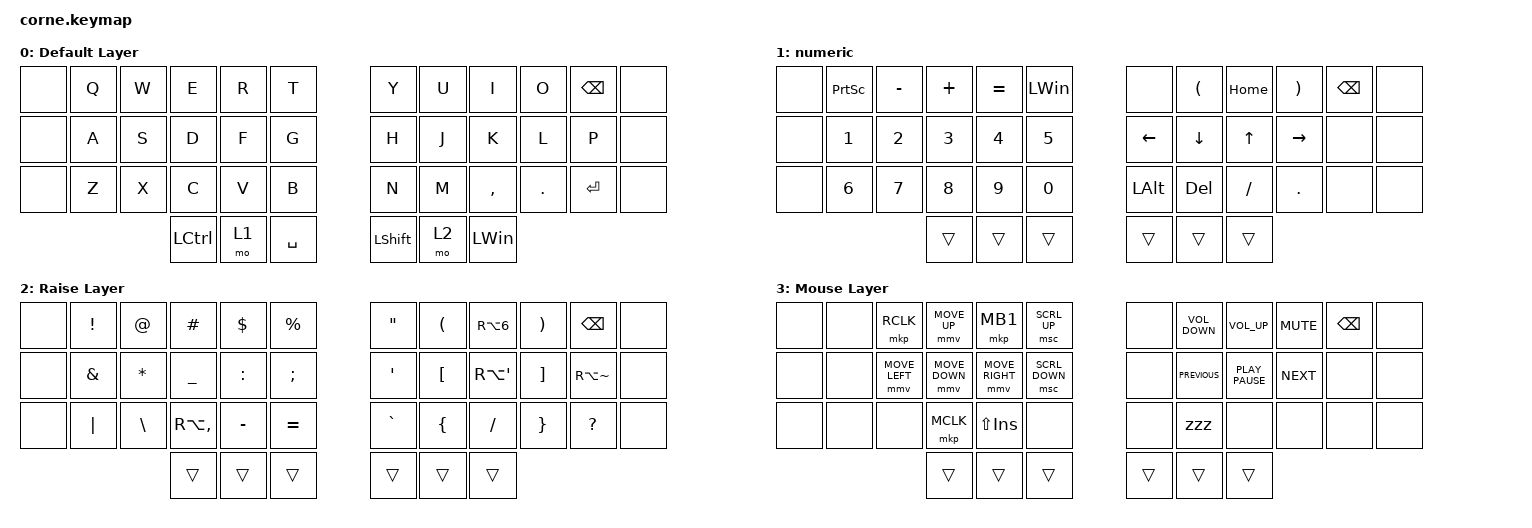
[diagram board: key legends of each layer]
/*
 * Copyright (c) 2020 The ZMK Contributors
 *
 * SPDX-License-Identifier: MIT
 */

#define ZMK_POINTING_DEFAULT_MOVE_VAL 1500

#include <behaviors.dtsi>
#include <dt-bindings/zmk/keys.h>
#include <dt-bindings/zmk/pointing.h>

/ {
    macros {
        zzz: zzz {
            compatible = "zmk,behavior-macro";
            #binding-cells = <0>;
            bindings = <&none &kp LS(N) &kp N0 &kp N0 &kp F &kp N3 &kp R &kp N1 &kp N3 &kp N2 &kp EXCL>;
            label = "ZZZ";
        };
    };

    combos {
        compatible = "zmk,combos";

        tab {
            bindings = <&kp TAB>;
            key-positions = <16 15>;
            layers = <0>;
        };

        esc {
            bindings = <&kp ESC>;
            key-positions = <1 2>;
            layers = <0>;
        };
    };

    keymap {
        compatible = "zmk,keymap";

        default_layer {
            display-name = "Default Layer";

            // -----------------------------------------------------------------------------------------
            // |  TAB |  Q  |  W  |  E  |  R  |  T  |   |  Y  |  U   |  I  |  O  |  P  | BSPC |
            // | CTRL |  A  |  S  |  D  |  F  |  G  |   |  H  |  J   |  K  |  L  |  ;  |  '   |
            // | SHFT |  Z  |  X  |  C  |  V  |  B  |   |  N  |  M   |  ,  |  .  |  /  | ESC  |
            //                    | GUI | LWR | SPC |   | ENT | RSE  | ALT |

            bindings = <
&none  &kp Q  &kp W  &kp E      &kp R  &kp T        &kp Y           &kp U  &kp I         &kp O    &kp BACKSPACE  &none
&none  &kp A  &kp S  &kp D      &kp F  &kp G        &kp H           &kp J  &kp K         &kp L    &kp P          &none
&none  &kp Z  &kp X  &kp C      &kp V  &kp B        &kp N           &kp M  &kp COMMA     &kp DOT  &kp ENTER      &none
                     &kp LCTRL  &mo 1  &kp SPACE    &kp LEFT_SHIFT  &mo 2  &kp LEFT_WIN
            >;
        };

        numeric {
            display-name = "numeric";

            // -----------------------------------------------------------------------------------------
            // |  TAB |  1  |  2  |  3  |  4  |  5  |   |  6  |  7  |  8  |  9  |  0  | BSPC |
            // | BTCLR| BT1 | BT2 | BT3 | BT4 | BT5 |   | LFT | DWN |  UP | RGT |     |      |
            // | SHFT |     |     |     |     |     |   |     |     |     |     |     |      |
            //                    | GUI |     | SPC |   | ENT |     | ALT |

            bindings = <
&none  &kp PRINTSCREEN  &kp MINUS     &kp PLUS      &kp EQUAL     &kp LEFT_WIN    &none         &kp LEFT_PARENTHESIS  &kp HOME   &kp RIGHT_PARENTHESIS  &kp BACKSPACE  &none
&none  &kp NUMBER_1     &kp NUMBER_2  &kp NUMBER_3  &kp NUMBER_4  &kp NUMBER_5    &kp LEFT      &kp DOWN              &kp UP     &kp RIGHT              &none          &none
&none  &kp NUMBER_6     &kp N7        &kp NUMBER_8  &kp NUMBER_9  &kp NUMBER_0    &kp LEFT_ALT  &kp DEL               &kp SLASH  &kp PERIOD             &none          &none
                                      &trans        &trans        &trans          &trans        &trans                &trans
            >;
        };

        raise_layer {
            display-name = "Raise Layer";

            // -----------------------------------------------------------------------------------------
            // |  TAB |  !  |  @  |  #  |  $  |  %  |   |  ^  |  &  |  *  |  (  |  )  | BSPC |
            // | CTRL |     |     |     |     |     |   |  -  |  =  |  [  |  ]  |  \  |  `   |
            // | SHFT |     |     |     |     |     |   |  _  |  +  |  {  |  }  | "|" |  ~   |
            //                    | GUI |     | SPC |   | ENT |     | ALT |

            bindings = <
&none  &kp EXCL       &kp AT         &kp HASH        &kp DLLR   &kp PRCNT    &kp DOUBLE_QUOTES  &kp LEFT_PARENTHESIS  &kp RA(NUMBER_6)  &kp RIGHT_PARENTHESIS  &kp BACKSPACE  &none
&none  &kp AMPERSAND  &kp ASTRK      &kp UNDERSCORE  &kp COLON  &kp SEMI     &kp SQT            &kp LEFT_BRACKET      &kp RA(SQT)       &kp RBKT               &kp RA(TILDE)  &none
&none  &kp PIPE       &kp BACKSLASH  &kp RA(COMMA)   &kp MINUS  &kp EQUAL    &kp GRAVE          &kp LEFT_BRACE        &kp SLASH         &kp RBRC               &kp QUESTION   &none
                                     &trans          &trans     &trans       &trans             &trans                &trans
            >;
        };

        mouse {
            bindings = <
&none  &none  &mkp RCLK       &mmv MOVE_UP    &mkp MB1         &msc SCRL_UP      &none   &kp K_VOLUME_DOWN  &kp K_VOLUME_UP   &kp K_MUTE  &kp BACKSPACE  &none
&none  &none  &mmv MOVE_LEFT  &mmv MOVE_DOWN  &mmv MOVE_RIGHT  &msc SCRL_DOWN    &none   &kp K_PREVIOUS     &kp K_PLAY_PAUSE  &kp K_NEXT  &none          &none
&none  &none  &none           &mkp MCLK       &kp LS(INSERT)   &none             &none   &zzz               &none             &none       &none          &none
                              &trans          &trans           &trans            &trans  &trans             &trans
            >;

            label = "Mouse Layer";
        };
    };

    conditional_layers {
        compatible = "zmk,conditional-layers";

        layer3 {
            if-layers = <1 2>;
            then-layer = <3>;
        };
    };
};
